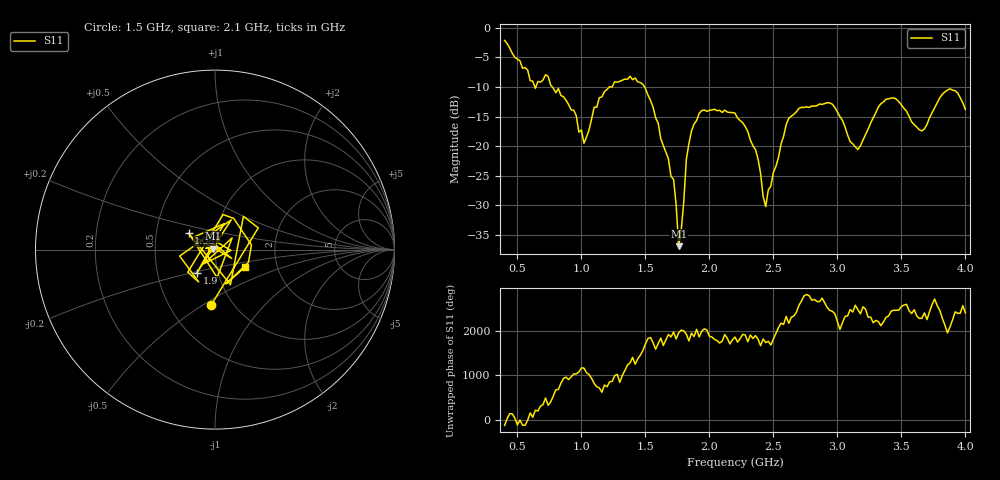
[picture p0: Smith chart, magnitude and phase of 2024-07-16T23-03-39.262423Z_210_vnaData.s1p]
!Created with skrf (http://scikit-rf.org).
# Hz S RI R 50.0
!freq ReS11 ImS11
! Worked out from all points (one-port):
!   181 points, 400 MHz to 4 GHz, reference 50 ohm
!   lowest |S11| = -36.9 dB at 1.76 GHz (marker M1), VSWR 1.03, Z = 48.7 + j0.581 ohm
!   |S11| at or under -10 dB: 636.2 MHz to 644 MHz (7.76 MHz wide, 1.21 % of centre); 772.8 MHz to 1.218 GHz (444.8 MHz wide, 44.7 % of centre); 1.494 GHz to end of sweep
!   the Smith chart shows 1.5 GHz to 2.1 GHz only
!   S11 on the Smith chart (normalised r, x): 1.5 GHz: 0.80, -0.54; 1.58 GHz: 0.73, +0.14; 1.9 GHz: 0.79, -0.21; 2.1 GHz: 1.36, -0.28
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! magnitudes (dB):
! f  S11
! 400 MHz  -2.1
! 640 MHz  -10.2
! 720 MHz  -7.9
! 860 MHz  -11.6
! 1.02 GHz  -19.5
! 1.14 GHz  -11.8
! 1.3 GHz  -9.0
! 1.5 GHz  -10.2
! 1.58 GHz  -15.2
! 1.72 GHz  -25.6
! 1.76 GHz  -36.9
! 1.8 GHz  -29.3
! 1.82 GHz  -22.2
! 1.9 GHz  -15.7
! 2.1 GHz  -14.3
! 2.2 GHz  -14.4
! 2.36 GHz  -20.6
! 2.44 GHz  -30.2
! 2.6 GHz  -16.3
! 2.66 GHz  -14.6
! 2.96 GHz  -12.9
! 3.1 GHz  -19.3
! 3.16 GHz  -20.6
! 3.38 GHz  -12.1
! 3.56 GHz  -15.0
! 3.66 GHz  -17.4
! 3.88 GHz  -10.3
! 4 GHz  -13.8
